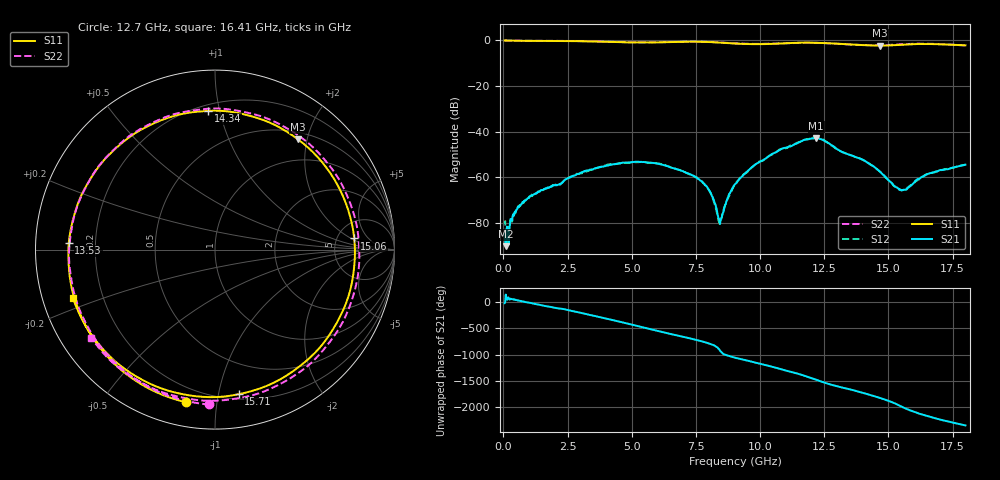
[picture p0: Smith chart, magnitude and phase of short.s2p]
!Agilent Technologies,E8364A,US41440284,A.06.04.32
!Agilent E8364A: A.06.04.32
!Date: Friday, December 06, 2019 10:27:10
!Correction: S11(Full 2 Port(1,2)) S21(Full 2 Port(1,2)) S12(Full 2 Port(1,2)) S22(Full 2 Port(1,2))
!S2P File: Measurements: S11, S21, S12, S22:
# Hz S  MA  R 50
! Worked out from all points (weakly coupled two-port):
!   801 points, 45 MHz to 18 GHz, reference 50 ohm
!   highest |S21| = -42.79 dB at 12.19 GHz (marker M1); lowest = -90.1 dB at 89.89 MHz (marker M2)
!   lowest |S11| = -2.3 dB at 14.68 GHz (marker M3), VSWR 7.64, Z = 30.6 + j91.9 ohm
!   |S11| at or under -10 dB: nowhere
!   |S22| runs from -2.2 to 0.0 dB; largest |S21 - S12| = 0.0004
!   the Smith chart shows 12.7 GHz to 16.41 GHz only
!   S11 on the Smith chart (normalised r, x): 12.7 GHz: 0.12, -0.82; 13.53 GHz: 0.10, +0.02; 14.34 GHz: 0.24, +0.92; 15.06 GHz: 7.29, +2.29; 15.71 GHz: 0.24, -1.15; 16.41 GHz: 0.09, -0.16
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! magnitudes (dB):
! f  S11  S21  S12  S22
! 45 MHz  0.0  -84.2  -80.1  0.0
! 89.89 MHz  -0.1  -90.1  -86.6  0.0
! 1.033 GHz  -0.2  -68.2  -68.5  -0.2
! 3.052 GHz  -0.3  -57.7  -58.2  -0.3
! 4.13 GHz  -0.6  -54.6  -54.2  -0.6
! 6.037 GHz  -0.8  -54.0  -53.9  -0.8
! 7.743 GHz  -0.6  -62.0  -61.7  -0.6
! 8.102 GHz  -0.7  -67.5  -67.9  -0.7
! 8.417 GHz  -1.0  -78.8  -80.2  -0.9
! 9.023 GHz  -1.4  -63.0  -62.9  -1.3
! 10.46 GHz  -1.5  -49.8  -49.9  -1.4
! 12.03 GHz  -1.0  -42.9  -42.4  -1.0
! 12.19 GHz  -1.0  -42.8  -42.6  -1.1
! 12.7 GHz  -1.3  -45.2  -45.3  -1.3
! 13.53 GHz  -1.8  -50.2  -50.2  -1.8
! 14.34 GHz  -2.2  -54.6  -54.6  -2.1
! 14.68 GHz  -2.3  -57.5  -57.5  -2.1
! 15.01 GHz  -2.2  -61.3  -61.2  -2.0
! 15.06 GHz  -2.2  -61.7  -61.8  -1.9
! 15.71 GHz  -1.8  -65.3  -64.8  -1.6
! 16.41 GHz  -1.6  -59.2  -59.1  -1.4
! 18 GHz  -2.1  -54.4  -54.4  -2.2
